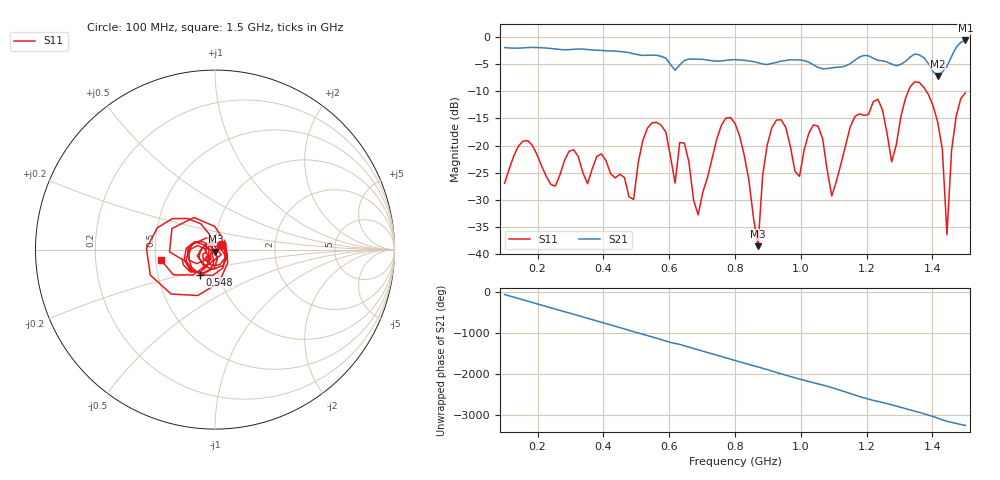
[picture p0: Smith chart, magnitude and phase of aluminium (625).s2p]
! NanoVNA-App
! Date: 2025-09-25 15:00:08
! Start: 100MHz Stop: 1,5GHz Points: 101
! S-Parameter data: F S11 S21 S12 S22
# Hz S RI R 50
!  Frequency  S11_Real  S11_Imag  S21_Real  S21_Imag  S12_Real  S12_Imag  S22_Real  S22_Imag
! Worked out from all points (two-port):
!   101 points, 100 MHz to 1.5 GHz, reference 50 ohm
!   highest |S21| = -0.61 dB at 1.5 GHz (marker M1); lowest = -7.2 dB at 1.416 GHz (marker M2)
!   |S21| within 3 dB of the highest: start of sweep to 578.7 MHz; 1.458 GHz to end of sweep (the widest 2 of 4)
!   lowest |S11| = -38.6 dB at 870 MHz (marker M3), VSWR 1.02, Z = 50.2 - j1.17 ohm
!   |S11| at or under -10 dB: start of sweep to 1.327 GHz; 1.381 GHz to end of sweep
!   S12 and S22 are empty: the file has one direction only
!   S11 on the Smith chart (normalised r, x): 100 MHz: 1.07, +0.06; 548 MHz: 0.82, -0.24; 1.5 GHz: 0.54, -0.07
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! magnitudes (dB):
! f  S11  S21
! 100 MHz  -27.0  -1.9
! 156 MHz  -19.2  -2.0
! 338 MHz  -25.1  -2.2
! 492 MHz  -29.9  -3.1
! 548 MHz  -15.8  -3.3
! 576 MHz  -16.3  -3.5
! 618 MHz  -26.9  -6.1
! 646 MHz  -19.5  -4.3
! 688 MHz  -32.8  -4.1
! 800 MHz  -15.9  -4.1
! 870 MHz  -38.6  -4.7
! 912 MHz  -16.7  -4.8
! 996 MHz  -25.7  -4.2
! 1.038 GHz  -16.2  -5.1
! 1.094 GHz  -29.3  -5.7
! 1.22 GHz  -11.9  -3.9
! 1.276 GHz  -23.0  -5.0
! 1.346 GHz  -8.2  -3.1
! 1.416 GHz  -15.7  -7.2
! 1.444 GHz  -36.5  -5.4
! 1.458 GHz  -20.9  -3.6
! 1.5 GHz  -10.3  -0.6
